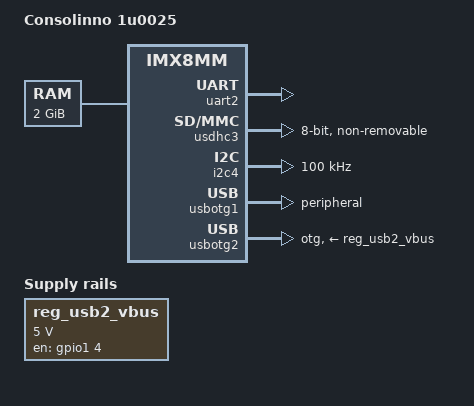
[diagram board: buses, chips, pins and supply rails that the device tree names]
// SPDX-License-Identifier: GPL-2.0+ OR MIT
/*
 * Copyright (C) 2023 Sigma Chemnitz GmbH
 */

/dts-v1/;

#include "imx8mm.dtsi"
#include "imx8mm-u-boot.dtsi"

/ {
	model = "Consolinno 1u0025";
	compatible = "consolinno,1u0025", "fsl,imx8mm";

	memory@40000000 {
		device_type = "memory";
		/*
		 * There are multiple SoM flavors with different DDR sizes.
		 * The smallest is 1GB. For larger sizes the bootloader will
		 * update the reg property.
		 */
		reg = <0x0 0x40000000 0 0x80000000>;
	};

	chosen {
		stdout-path = &uart2;
	};

	reg_usb2_vbus: regulator-usb2-vbus {
		compatible = "regulator-fixed";
		pinctrl-names = "default";
		pinctrl-0 = <&pinctrl_reg_usb2_vbus>;
		gpio = <&gpio1 4 GPIO_ACTIVE_HIGH>;
		regulator-min-microvolt = <5000000>;
		regulator-max-microvolt = <5000000>;
		regulator-name = "usb2-vbus";
		enable-active-high;
	};

};

&uart2 { /* console */
	pinctrl-names = "default";
	pinctrl-0 = <&pinctrl_uart2>;
	status = "okay";
	u-boot,dm-spl;
	u-boot,dm-pre-reloc;
};

&usdhc3 {
	assigned-clocks = <&clk IMX8MM_CLK_USDHC3_ROOT>;
	assigned-clock-rates = <400000000>;
	pinctrl-names = "default", "state_100mhz", "state_200mhz";
	pinctrl-0 = <&pinctrl_usdhc3>;
	pinctrl-1 = <&pinctrl_usdhc3_100mhz>;
	pinctrl-2 = <&pinctrl_usdhc3_200mhz>;
	bus-width = <8>;
	non-removable;
	status = "okay";
	u-boot,dm-spl;
	u-boot,dm-pre-reloc;	
};

&i2c4 {
	clock-frequency = <100000>;
	pinctrl-names = "default";
	pinctrl-0 = <&pinctrl_i2c4>;
	status = "okay";
};

&iomuxc {

	pinctrl_i2c4: i2c4grp {
		fsl,pins = <
			MX8MM_IOMUXC_I2C4_SCL_I2C4_SCL			0x400001c3
			MX8MM_IOMUXC_I2C4_SDA_I2C4_SDA			0x400001c3
		>;
	};

	pinctrl_uart2: uart2grp {
		u-boot,dm-spl;
		fsl,pins = <
			MX8MM_IOMUXC_UART2_RXD_UART2_DCE_RX		0x140
			MX8MM_IOMUXC_UART2_TXD_UART2_DCE_TX		0x140
		>;
	};

	pinctrl_reg_usb2_vbus: usb2-vbus-grp {
		fsl,pins = <
			MX8MM_IOMUXC_GPIO1_IO04_GPIO1_IO4		0x0
		>;
	};

	pinctrl_usdhc3: usdhc3grp {
		fsl,pins = <
			MX8MM_IOMUXC_NAND_WE_B_USDHC3_CLK               0x190
			MX8MM_IOMUXC_NAND_WP_B_USDHC3_CMD               0x1d0
			MX8MM_IOMUXC_NAND_DATA04_USDHC3_DATA0           0x1d0
			MX8MM_IOMUXC_NAND_DATA05_USDHC3_DATA1           0x1d0
			MX8MM_IOMUXC_NAND_DATA06_USDHC3_DATA2           0x1d0
			MX8MM_IOMUXC_NAND_DATA07_USDHC3_DATA3           0x1d0
			MX8MM_IOMUXC_NAND_RE_B_USDHC3_DATA4             0x1d0
			MX8MM_IOMUXC_NAND_CE2_B_USDHC3_DATA5            0x1d0
			MX8MM_IOMUXC_NAND_CE3_B_USDHC3_DATA6            0x1d0
			MX8MM_IOMUXC_NAND_CLE_USDHC3_DATA7              0x1d0
			MX8MM_IOMUXC_NAND_CE1_B_USDHC3_STROBE           0x190
		>;
	};

	pinctrl_usdhc3_100mhz: usdhc3-100mhzgrp {
		fsl,pins = <
			MX8MM_IOMUXC_NAND_WE_B_USDHC3_CLK               0x194
			MX8MM_IOMUXC_NAND_WP_B_USDHC3_CMD               0x1d4
			MX8MM_IOMUXC_NAND_DATA04_USDHC3_DATA0           0x1d4
			MX8MM_IOMUXC_NAND_DATA05_USDHC3_DATA1           0x1d4
			MX8MM_IOMUXC_NAND_DATA06_USDHC3_DATA2           0x1d4
			MX8MM_IOMUXC_NAND_DATA07_USDHC3_DATA3           0x1d4
			MX8MM_IOMUXC_NAND_RE_B_USDHC3_DATA4             0x1d4
			MX8MM_IOMUXC_NAND_CE2_B_USDHC3_DATA5            0x1d4
			MX8MM_IOMUXC_NAND_CE3_B_USDHC3_DATA6            0x1d4
			MX8MM_IOMUXC_NAND_CLE_USDHC3_DATA7              0x1d4
			MX8MM_IOMUXC_NAND_CE1_B_USDHC3_STROBE           0x194
		>;
	};

	pinctrl_usdhc3_200mhz: usdhc3-200mhzgrp {
		fsl,pins = <
			MX8MM_IOMUXC_NAND_WE_B_USDHC3_CLK               0x196
			MX8MM_IOMUXC_NAND_WP_B_USDHC3_CMD               0x1d6
			MX8MM_IOMUXC_NAND_DATA04_USDHC3_DATA0           0x1d6
			MX8MM_IOMUXC_NAND_DATA05_USDHC3_DATA1           0x1d6
			MX8MM_IOMUXC_NAND_DATA06_USDHC3_DATA2           0x1d6
			MX8MM_IOMUXC_NAND_DATA07_USDHC3_DATA3           0x1d6
			MX8MM_IOMUXC_NAND_RE_B_USDHC3_DATA4             0x1d6
			MX8MM_IOMUXC_NAND_CE2_B_USDHC3_DATA5            0x1d6
			MX8MM_IOMUXC_NAND_CE3_B_USDHC3_DATA6            0x1d6
			MX8MM_IOMUXC_NAND_CLE_USDHC3_DATA7              0x1d6
			MX8MM_IOMUXC_NAND_CE1_B_USDHC3_STROBE           0x196
		>;
	};
};

&usbotg1 {
	dr_mode = "peripheral";
	over-current-active-low;
	status = "okay";
	u-boot,dm-spl;
};

&aips4 {
       u-boot,dm-spl;
};

&usbphynop1 {
	    u-boot,dm-spl;
};

&usbmisc1 {
	u-boot,dm-spl;
};

&usbotg2 {
	dr_mode = "otg";
	over-current-active-low;
	status = "okay";
	vbus-supply = <&reg_usb2_vbus>;
};
